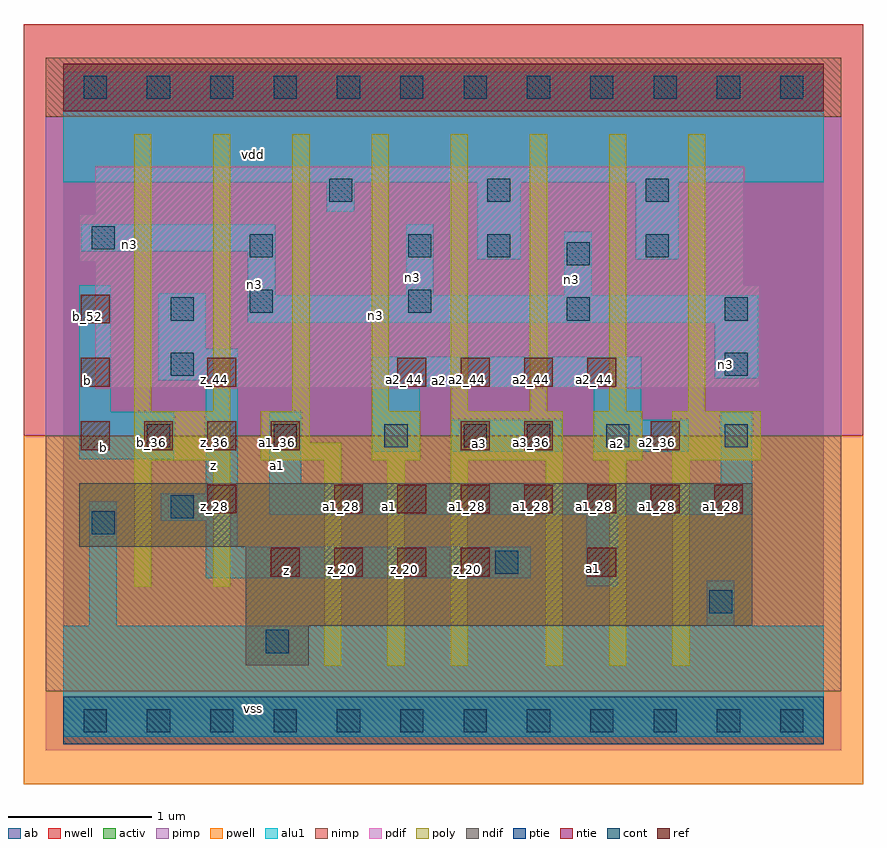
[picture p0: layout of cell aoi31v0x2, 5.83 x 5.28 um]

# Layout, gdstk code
import gdstk
lib = gdstk.Library(unit=1e-6, precision=2.5e-09)
def R(c, l, rs):  # rectangles x0, y0, x1, y1
    for r in rs: c.add(gdstk.rectangle(r[:2], r[2:], *l))
def A(c, l, x, y, w, h, nx, ny, dx, dy):  # array of equal rectangles
    R(c, l, [(x+i*dx, y+j*dy, x+i*dx+w, y+j*dy+h) for i in range(nx) for j in range(ny)])
ndif = (3, 0)
pdif = (4, 0)
ntie = (5, 0)
ptie = (6, 0)
ref = (24, 0)
cont = (25, 0)
pwell = (41, 0)
nwell = (42, 0)
activ = (43, 0)
pimp = (44, 0)
nimp = (45, 0)
poly = (46, 0)
alu1 = (49, 0)
ab = (63, 0)

aoi31v0x2 = lib.new_cell('aoi31v0x2')
R(aoi31v0x2, ndif, [(1.265,0.385,1.705,0.66), (1.265,0.66,4.785,1.21), (0.11,1.21,4.785,1.65)])
R(aoi31v0x2, pdif, [(0.22,2.31,4.84,3.025), (0.22,3.025,4.73,3.19), (0.11,3.19,4.73,3.52), (0.22,3.52,4.73,3.85)])
R(aoi31v0x2, ntie, [(0,4.235,5.28,4.565)])
R(aoi31v0x2, ptie, [(0,-0.165,5.28,0.165)])
A(aoi31v0x2, ref, 1.44, 1, 0.2, 0.2, 4, 1, 0.44, 0)
A(aoi31v0x2, ref, 1.88, 1.44, 0.2, 0.2, 7, 1, 0.44, 0)
A(aoi31v0x2, ref, 0.12, 1.88, 0.2, 0.2, 4, 1, 0.44, 0)
A(aoi31v0x2, ref, 2.32, 2.32, 0.2, 0.2, 4, 1, 0.44, 0)
R(aoi31v0x2, ref, [(3.64,1,3.84,1.2), (1,1.44,1.2,1.64), (2.76,1.88,2.96,2.08), (3.2,1.88,3.4,2.08), (4.08,1.88,4.28,2.08), (0.12,2.32,0.32,2.52), (1,2.32,1.2,2.52), (0.12,2.76,0.32,2.96)])
A(aoi31v0x2, cont, 0.14, -0.08, 0.16, 0.16, 12, 2, 0.44, 4.4)
A(aoi31v0x2, cont, 1.845, 3.605, 0.16, 0.16, 3, 1, 1.1, 0)
R(aoi31v0x2, cont, [(1.405,0.47,1.565,0.63), (4.485,0.745,4.645,0.905), (3,1.02,3.16,1.18), (0.195,1.295,0.355,1.455), (0.745,1.405,0.905,1.565), (0.58,1.9,0.74,2.06), (1.46,1.9,1.62,2.06), (2.23,1.9,2.39,2.06), (2.78,1.9,2.94,2.06), (3.22,1.9,3.38,2.06), (3.77,1.9,3.93,2.06), (4.595,1.9,4.755,2.06), (0.745,2.395,0.905,2.555), (4.595,2.395,4.755,2.555), (0.745,2.78,0.905,2.94), (3.495,2.78,3.655,2.94), (4.595,2.78,4.755,2.94), (1.295,2.835,1.455,2.995), (2.395,2.835,2.555,2.995), (3.495,3.165,3.655,3.325), (1.295,3.22,1.455,3.38), (2.395,3.22,2.555,3.38), (2.945,3.22,3.105,3.38), (4.045,3.22,4.205,3.38), (0.195,3.275,0.355,3.435)])
R(aoi31v0x2, pwell, [(-0.275,-0.44,5.555,1.98)])
R(aoi31v0x2, nwell, [(-0.275,1.98,5.555,4.84)])
R(aoi31v0x2, activ, [(0,-0.165,5.28,0.165), (1.265,0.385,1.705,0.66), (1.265,0.66,4.785,1.21), (0.11,1.21,4.785,1.65), (0.22,2.31,4.84,3.025), (0.22,3.025,4.73,3.19), (0.11,3.19,4.73,3.52), (0.22,3.52,4.73,3.85), (0,4.235,5.28,4.565)])
R(aoi31v0x2, pimp, [(-0.125,-0.205,5.405,0.205), (-0.125,1.98,5.405,4.195)])
R(aoi31v0x2, nimp, [(-0.125,0.205,5.405,1.98), (-0.125,4.195,5.405,4.605)])
A(aoi31v0x2, poly, 1.81, 0.38, 0.12, 1.43, 3, 1, 0.44, 0)
A(aoi31v0x2, poly, 3.35, 0.38, 0.12, 1.43, 3, 1, 0.44, 0)
A(aoi31v0x2, poly, 0.49, 2.15, 0.12, 1.925, 8, 1, 0.55, 0)
R(aoi31v0x2, poly, [(0.49,0.93,0.61,1.81), (1.04,0.93,1.16,1.81), (0.49,1.81,1.16,2.15), (1.37,1.81,1.93,1.93), (2.14,1.81,2.48,2.15), (2.69,1.81,3.47,2.15), (3.68,1.81,4.02,2.15), (4.23,1.81,4.845,2.15), (1.37,1.93,1.71,2.15)])
R(aoi31v0x2, alu1, [(0,-0.11,5.28,0.66), (0.18,0.66,0.37,1.525), (4.47,0.66,4.66,0.975), (3.63,0.935,3.85,1.43), (0.99,0.99,3.245,1.21), (0.99,1.21,1.21,1.39), (0.675,1.39,1.21,1.58), (1.43,1.43,4.785,1.65), (0.99,1.58,1.21,2.365), (1.43,1.65,1.65,2.145), (4.565,1.65,4.785,2.145), (0.11,1.815,0.77,2.145), (2.145,1.87,2.475,2.31), (2.695,1.87,3.465,2.09), (3.685,1.87,4.345,2.09), (3.685,2.09,4.015,2.31), (0.11,2.145,0.33,3.025), (2.145,2.31,4.015,2.53), (0.66,2.365,1.21,2.585), (4.525,2.38,4.825,2.765), (0.66,2.585,0.99,2.97), (1.28,2.765,4.825,2.955), (1.28,2.955,1.47,3.26), (2.38,2.955,2.57,3.45), (3.48,2.955,3.67,3.395), (2.875,3.205,3.175,3.74), (3.975,3.205,4.275,3.74), (0.125,3.26,1.47,3.45), (1.83,3.535,2.02,3.74), (0,3.74,5.28,4.51)])
R(aoi31v0x2, ab, [(0,0,5.28,4.4)])
aoi31v0x2.add(gdstk.Label('vss', (1.32,0.0825), layer=49, texttype=0))
aoi31v0x2.add(gdstk.Label('a1', (3.685,1.0575), layer=49, texttype=0))
aoi31v0x2.add(gdstk.Label('z', (1.5525,1.045), layer=49, texttype=0))
aoi31v0x2.add(gdstk.Label('a1', (2.2675,1.485), layer=49, texttype=0))
aoi31v0x2.add(gdstk.Label('a2', (3.85,1.925), layer=49, texttype=0))
aoi31v0x2.add(gdstk.Label('a3', (2.8875,1.925), layer=49, texttype=0))
aoi31v0x2.add(gdstk.Label('a1', (1.485,1.7725), layer=49, texttype=0))
aoi31v0x2.add(gdstk.Label('n3', (4.6,2.475), layer=49, texttype=0))
aoi31v0x2.add(gdstk.Label('a2', (2.6125,2.365), layer=49, texttype=0))
aoi31v0x2.add(gdstk.Label('z', (1.045,1.775), layer=49, texttype=0))
aoi31v0x2.add(gdstk.Label('b', (0.275,1.8975), layer=49, texttype=0))
aoi31v0x2.add(gdstk.Label('n3', (2.165,2.8125), layer=49, texttype=0))
aoi31v0x2.add(gdstk.Label('n3', (3.5275,3.065), layer=49, texttype=0))
aoi31v0x2.add(gdstk.Label('n3', (2.4275,3.0775), layer=49, texttype=0))
aoi31v0x2.add(gdstk.Label('n3', (1.3275,3.03), layer=49, texttype=0))
aoi31v0x2.add(gdstk.Label('b', (0.165,2.365), layer=49, texttype=0))
aoi31v0x2.add(gdstk.Label('n3', (0.46,3.3075), layer=49, texttype=0))
aoi31v0x2.add(gdstk.Label('vdd', (1.32,3.9325), layer=49, texttype=0))
aoi31v0x2.add(gdstk.Label('b_36', (0.61,1.93), layer=24, texttype=0))
aoi31v0x2.add(gdstk.Label('z_28', (1.05,1.49), layer=24, texttype=0))
aoi31v0x2.add(gdstk.Label('z_36', (1.05,1.93), layer=24, texttype=0))
aoi31v0x2.add(gdstk.Label('z_44', (1.05,2.37), layer=24, texttype=0))
aoi31v0x2.add(gdstk.Label('z_20', (1.49,1.05), layer=24, texttype=0))
aoi31v0x2.add(gdstk.Label('a1_36', (1.49,1.93), layer=24, texttype=0))
aoi31v0x2.add(gdstk.Label('z_20', (1.93,1.05), layer=24, texttype=0))
aoi31v0x2.add(gdstk.Label('a1_28', (1.93,1.49), layer=24, texttype=0))
aoi31v0x2.add(gdstk.Label('b_36', (0.17,1.93), layer=24, texttype=0))
aoi31v0x2.add(gdstk.Label('b_44', (0.17,2.37), layer=24, texttype=0))
aoi31v0x2.add(gdstk.Label('b_52', (0.17,2.81), layer=24, texttype=0))
aoi31v0x2.add(gdstk.Label('z_20', (2.37,1.05), layer=24, texttype=0))
aoi31v0x2.add(gdstk.Label('a1_28', (2.37,1.49), layer=24, texttype=0))
aoi31v0x2.add(gdstk.Label('a2_44', (2.37,2.37), layer=24, texttype=0))
aoi31v0x2.add(gdstk.Label('z_20', (2.81,1.05), layer=24, texttype=0))
aoi31v0x2.add(gdstk.Label('a1_28', (2.81,1.49), layer=24, texttype=0))
aoi31v0x2.add(gdstk.Label('a3_36', (2.81,1.93), layer=24, texttype=0))
aoi31v0x2.add(gdstk.Label('a2_44', (2.81,2.37), layer=24, texttype=0))
aoi31v0x2.add(gdstk.Label('a1_28', (3.25,1.49), layer=24, texttype=0))
aoi31v0x2.add(gdstk.Label('a3_36', (3.25,1.93), layer=24, texttype=0))
aoi31v0x2.add(gdstk.Label('a2_44', (3.25,2.37), layer=24, texttype=0))
aoi31v0x2.add(gdstk.Label('a1_20', (3.69,1.05), layer=24, texttype=0))
aoi31v0x2.add(gdstk.Label('a1_28', (3.69,1.49), layer=24, texttype=0))
aoi31v0x2.add(gdstk.Label('a2_44', (3.69,2.37), layer=24, texttype=0))
aoi31v0x2.add(gdstk.Label('a1_28', (4.13,1.49), layer=24, texttype=0))
aoi31v0x2.add(gdstk.Label('a2_36', (4.13,1.93), layer=24, texttype=0))
aoi31v0x2.add(gdstk.Label('a1_28', (4.57,1.49), layer=24, texttype=0))

lib.write_gds('aoi31v0x2.gds')
